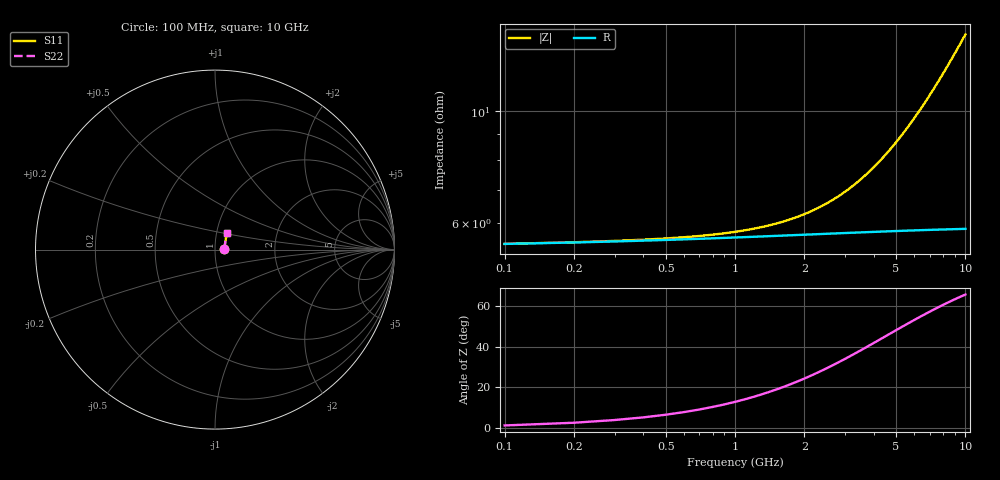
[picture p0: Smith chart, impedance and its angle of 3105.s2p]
# Hz S RI R 50.00
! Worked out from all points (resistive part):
!   100 points, 100 MHz to 10 GHz, reference 50 ohm
!   read as one part in series: R = 5.47 ohm at 100 MHz
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1e8  0.0518 0.000975  0.9482 -0.00135  0.9482 -0.00135  0.0518 0.000975
2e8  0.0522 0.00195  0.9478 -0.00269  0.9478 -0.00269  0.0522 0.00195
3e8  0.0524 0.00292  0.9476 -0.00404  0.9476 -0.00404  0.0524 0.00292
8e8  0.0532 0.00777  0.9468 -0.0107  0.9468 -0.0107  0.0532 0.00777
1e9  0.0534 0.00971  0.9466 -0.0134  0.9466 -0.0134  0.0534 0.00971
1.2e9  0.0537 0.0116  0.9463 -0.0161  0.9463 -0.0161  0.0537 0.0116
1.5e9  0.054 0.0146  0.946 -0.0201  0.946 -0.0201  0.054 0.0146
1.8e9  0.0543 0.0175  0.9457 -0.0241  0.9457 -0.0241  0.0543 0.0175
2.1e9  0.0546 0.0203  0.9454 -0.0282  0.9454 -0.0282  0.0546 0.0203
2.5e9  0.055 0.0242  0.9449 -0.0335  0.9449 -0.0335  0.055 0.0242
2.9e9  0.0555 0.0281  0.9445 -0.0388  0.9445 -0.0388  0.0555 0.0281
3.4e9  0.056 0.0329  0.9439 -0.0455  0.9439 -0.0455  0.056 0.0329
4.1e9  0.057 0.0396  0.9429 -0.0548  0.9429 -0.0548  0.057 0.0396
5.1e9  0.0584 0.0491  0.9414 -0.0681  0.9414 -0.0681  0.0584 0.0491
6e9  0.0599 0.0577  0.9398 -0.08  0.9398 -0.08  0.0599 0.0577
6.7e9  0.0612 0.0643  0.9384 -0.0892  0.9384 -0.0892  0.0612 0.0643
7.2e9  0.0623 0.069  0.9373 -0.0958  0.9373 -0.0958  0.0623 0.069
7.6e9  0.0631 0.0728  0.9365 -0.101  0.9365 -0.101  0.0631 0.0728
8.4e9  0.0649 0.0802  0.9345 -0.1115  0.9345 -0.1115  0.0649 0.0802
8.8e9  0.0659 0.084  0.9335 -0.1167  0.9335 -0.1167  0.0659 0.084
9.2e9  0.0669 0.0877  0.9325 -0.1219  0.9325 -0.1219  0.0669 0.0877
1e10  0.0691 0.095  0.9302 -0.1322  0.9302 -0.1322  0.0691 0.095
